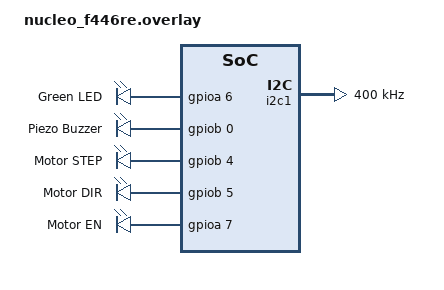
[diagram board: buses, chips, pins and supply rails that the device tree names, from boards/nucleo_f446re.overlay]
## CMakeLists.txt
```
cmake_minimum_required(VERSION 3.20.0)
find_package(Zephyr REQUIRED HINTS $ENV{ZEPHYR_BASE})
project(infusion_pump)

target_sources(app PRIVATE
    src/main.cpp
    src/InfusionMode.cpp
    src/ConstantRateMode.cpp
    src/LinearRampMode.cpp
    src/EncoderVolumeTracker.cpp
    src/OcclusionMonitor.cpp
)

target_include_directories(app PRIVATE src)
```

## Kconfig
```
mainmenu "Infusion Pump Application"

source "Kconfig.zephyr"
```

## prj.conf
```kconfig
# UART configuration
CONFIG_SERIAL=y
CONFIG_UART_CONSOLE=y
CONFIG_UART_INTERRUPT_DRIVEN=y

# Console
CONFIG_CONSOLE=y
CONFIG_PRINTK=y

# No heap — medical device requirement
CONFIG_HEAP_MEM_POOL_SIZE=0

# C++ support
CONFIG_CPP=y
CONFIG_STD_CPP20=y
CONFIG_GLIBCXX_LIBCPP=y

# I2C for LPS22HB sensor
CONFIG_I2C=y

# Stack sizes
CONFIG_MAIN_STACK_SIZE=2048
CONFIG_SYSTEM_WORKQUEUE_STACK_SIZE=2048
CONFIG_SENSOR=y
CONFIG_QDEC_STM32=y
```

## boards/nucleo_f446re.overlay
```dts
/{
// An alias is a short name assigned to a hardware node in the Device Tree instaed it eriting green led we using shret name as led0
aliases {
        led0        = &green_led;
        motor-step  = &motor_step;
        motor-dir   = &motor_dir;
        motor-en    = &motor_en;
        alarm-buzz  = &buzzer_out;
    };

//leed gpio initialization 
    leds {
        compatible = "gpio-leds";
        green_led: led_0 {
// gpio controller port a pin 6 and the state is active            
gpios = <&gpioa 6 GPIO_ACTIVE_HIGH>;
            label = "Green LED";
        };
    };
// same as led 
 buzzers {
        compatible = "gpio-leds";
        buzzer_out: buzzer_0 {
            gpios = <&gpiob 0 GPIO_ACTIVE_HIGH>;
// human readable             
label = "Piezo Buzzer";
        };
    };




// same as led
    motor {
        compatible = "gpio-leds";
        motor_step: motor_step_0 {
            gpios = <&gpiob 4 GPIO_ACTIVE_HIGH>;
            label = "Motor STEP";
        };
        motor_dir: motor_dir_0 {
            gpios = <&gpiob 5 GPIO_ACTIVE_HIGH>;
            label = "Motor DIR";
        };
          motor_en: motor_en_0 {
        gpios = <&gpioa 7 GPIO_ACTIVE_HIGH>;
        label = "Motor EN";
    };

    };
};
 // itd necessary for lps22hb  without ths i2c is disbled 
   &i2c1 {
    status = "okay";
 the speed of it s is 400 khz
    clock-frequency = <I2C_BITRATE_FAST>;
};
// this is for encoder initailization 
&pinctrl {
// timer 2 channel 1 port a pin 0 
    tim2_ch1_pa0: tim2_ch1_pa0 {
        pinmux = <STM32_PINMUX('A', 0, AF1)>;
// it is the pull up resistor  
bias-pull-up;
    };
// it foe b chanel
    tim2_ch2_pa1: tim2_ch2_pa1 {
        pinmux = <STM32_PINMUX('A', 1, AF1)>;
        bias-pull-up;
    };
};

this enable stm 32 timer 2 enables 
&timers2 {
    status = "okay";
    st,prescaler = <0>;
no prescaing 
//This creates a Quadrature Decoder (QDEC) node using Timer 2.
  qdec: qdec {
        compatible = "st,stm32-qdec";
// this tells the zephyr use the qdec driver for this hardwaer
        status = "okay";
        pinctrl-0 = <&tim2_ch1_pa0 &tim2_ch2_pa1>;
        pinctrl-names = "default";
// this tells the driver for full rotation it generates 600 pulses 
        st,counts-per-revolution = <600>;
    };
};
```

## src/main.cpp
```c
#include <zephyr/kernel.h>
#include <zephyr/device.h>
#include <zephyr/drivers/uart.h>
#include <zephyr/drivers/gpio.h>
#include <zephyr/drivers/i2c.h>
// This header provides the Zephyr Sensor API, which is used to access the STM32 QDEC driver
// and read the encoder count.
#include <zephyr/drivers/sensor.h>
#include <zephyr/sys/printk.h>

#include "InfusionMode.hpp"
#include "ConstantRateMode.hpp"
#include "LinearRampMode.hpp"
#include "EncoderVolumeTracker.hpp"
#include "OcclusionMonitor.hpp"
// this gpio_dt_spec ia a zephyr structur ehat stores the all information about the gpio pin 
// struct - it is a user defined data type that groups multiple variable togtther
//const - the variable value cannot be modified after the  once it is created since the led is never changeable   
//static is a global variable in.cpp file  only this maincpp can access it 
// led- this a simpple variable name 
// ── GPIO specs ────────────────────────────────────
static const struct gpio_dt_spec led =
//It searches the Device Tree for the alias named led0.
    GPIO_DT_SPEC_GET(DT_ALIAS(led0), gpios);
static const struct gpio_dt_spec step_pin =
    GPIO_DT_SPEC_GET(DT_ALIAS(motor_step), gpios);
static const struct gpio_dt_spec dir_pin =
    GPIO_DT_SPEC_GET(DT_ALIAS(motor_dir), gpios);
static const struct gpio_dt_spec en_pin= 
    GPIO_DT_SPEC_GET(DT_ALIAS(motor_en), gpios);
static const struct gpio_dt_spec buzzer =
    GPIO_DT_SPEC_GET(DT_NODELABEL(buzzer_out), gpios);

// ── Alarm helpers ─────────────────────────────────
static void alarm_on(void) {
     // these are zephyr api the fuction calls api then gpio driver then stm32  hardware 
    gpio_pin_set_dt(&led,    1);
    gpio_pin_set_dt(&buzzer, 1);
}

static void alarm_off(void) {
    gpio_pin_set_dt(&led,    0);
    gpio_pin_set_dt(&buzzer, 0);
} cd ~/zephyrproject
source .venv/bin/activate
source zephyr/zephyr-env.sh
export ZEPHYR_SDK_INSTALL_DIR=$HOME/zephyr-sdk-0.16.8
west build -p always -b nucleo_f446re infusion_pump
west flash --build-dir ~/zephyrproject/build



// ── Encoder globals & Physical Constants ──────────
//static → Variable is accessible only within main.cpp.
//const → The device object itself cannot be modified.
//struct device → Zephyr's device structure representing a hardware device.

//* → Pointer to the device.
//t stores the address of the QDEC (Quadrature Decoder) device.
static const struct device *qdec_dev;
//Stores the previous raw encoder count.
static int32_t  g_encoderRawPrev     = 0;
//after the first encoder is intialized then only it gets true before it running it retuuns false
static bool     g_encoderInitialized = false;
//it stores the last total  encoder count 
static int32_t  g_lastEncoderCount   = 0; // Cumulative degrees tracked
// it stores Stores the flow rate set by the user. = 100ml/hr 
static uint32_t userFlowRateUlHr  = 100000; // default 100mL/hr
// no dose rtaregt is set yet now 
static uint32_t userDoseTargetUL  = 0;// 0 = no target
//This is a macro, not a variable. for completerotation in degrees as 360  
#define ENCODER_DEG_PER_REV  360
// it delivers 3.2 ml for full rotation 
#define UL_PER_REV           3200
//Counts how many motor steps have been generated.
static uint32_t motorTicks      = 0;
//Stores the expected volume.
//This is the theoretical volume based on the number of motor steps.
static uint32_t expectedVolumeUL = 0;
//Stores the actual delivered volume.
//It is calculated using the encoder pulses.
static uint32_t actualVolumeUL    = 0;
// IT STORES CORRECTION VOLUME AND IT COMPENSATE DIFFERENCE BETWEEN  EXPECTED AND ACTUAL 
static uint32_t volumeOffset     = 0;
//Stores the last time the ramp speed was updated.
static uint32_t lastRampUpdateMs = 0;
//Stores the maximum ramp flow rate. 500ML
static uint32_t userMaxRampRateUlHr = 500000;


Power ON
    │
    ▼
Initialize I2C
    │
    ▼
Initialize LPS22HB
    │
    ▼
Check WHO_AM_I register
    │
    ▼
Configure sensor
    │
    ▼
Read pressure periodically
    │
    ▼
Pressure (hPa)
    │
    ▼
Occlusion detection
// ── I2C / LPS22HB ────────────────────────────────
static const struct device *i2c_dev;
//This is the I²C address of the pressure sensor.//When the STM32 wants to communicate with the LPS22HB, it sends:
#define LPS22HB_ADDR         0x5C
//This is a register address inside the sensor.
#define LPS22HB_PRESS_OUT_XL 0x28
//This is another register.
//Its purpose is to identify the sensor.
//Reading this register should return
#define LPS22HB_WHO_AM_I     0x0F
//This is the control register.
//Writing values into this register configures the sensor.
#define LPS22HB_CTRL_REG1    0x10
//Sensor not initialized.//  when it is intialized it gets true 
static bool lps22hb_ready = false;
// this function initializes the sensor it did three jobs detect sensor configure sensor return sucess / fsilure  
static bool lps22hb_init(void) 
//Creates an 8-bit variable.
//It will store the value read from the WHO_AM_I register.
    uint8_t who_am_i = 0;
//Stores
//0x0F
//This tells the sensor
//Read register 0x0F
    uint8_t reg = LPS22HB_WHO_AM_I;
// this is a zephyr i2c api (i2c_write_read) it performs read and write function 
// it write 0 x 0F > LPSR22HB > RETURNS > 0XB1 IT STORED IN AN WHO AM I 
// IF THE CONNECTION FILE LPS NOT FOUND 
    if (i2c_write_read(i2c_dev, LPS22HB_ADDR, &reg, 1, &who_am_i, 1) != 0) {
        printk("LPS22HB not found!\n");
        return false;
    }
    printk("LPS22HB WHO_AM_I: 0x%02X\n", who_am_i);
// IT CREATES TWO BYES REGISTER ADRES  AS 0X10 AND OTHER BYTE AS CTRL REG1 0X30 
    uint8_t cfg[2] = {LPS22HB_CTRL_REG1, 0x30};
// IT WRITES 0X3O INTO CTRL REG
    i2c_write(i2c_dev, cfg, 2, LPS22HB_ADDR);
    return (who_am_i == 0xB1);
}//"The LPS22HB stores each pressure measurement in three 8-bit registers: 
//PRESS_OUT_XL (0x28), PRESS_OUT_L (0x29), and PRESS_OUT_H (0x2A). Since each register is 8 bits, the total pressure data size is 24 bits (3 × 8 = 24). 
    //My code reads these three bytes over I²C and combines them into a single 24-bit raw pressure value before converting it to pressure in hPa."

static uint32_t read_lps22hb_pressure(void) // IT READ PRESSURE FROM SENSOR {
    if (!lps22hb_ready) return 1013;// IF THE SENSOR NOT READ IT RETURS 1013 BCZ IT A ATMOSPHERIC NORMAL VALUE 
    uint8_t buf[3];//Creates a buffer of three bytes because the pressure value is stored across three registers.
    uint8_t reg = LPS22HB_PRESS_OUT_XL | 0x80;//0X 80 ENABLES AUTO INCREAMET 
    if (i2c_write_read(i2c_dev, LPS22HB_ADDR, &reg, 1, buf, 3) != 0) {
        return 1013;
    }
// THESE COMBINES THE 24 BIT RAW VALUE 2^24
    int32_t raw = ((int32_t)buf[2] << 16) | ((int32_t)buf[1] << 8) | (int32_t)buf[0];
// IF SUPPOSEIT RETUS BUF[1]=0X3F,0X56,0X45 COBINES RAW VALUE  = 0X3F5645 IT RETURNS THE DECIMAL AS raw = 0x3F5800
//Decimal = 4,151,296 IT IIS NOT PRESSUREHPA  VALUE IT A RAW  PRESSURE VALUE THAT NEED TO DIVIDE BY 4096 IT GIVEN BY DATA SHEET  THEN ONLY WE GET AS 1013 HPA 
    return (uint32_t)(raw / 4096);
}

// ── Static instances — no heap ───────────────────
//static → The object exists for the entire program execution.ConstantRateMode → This is the class (data type).
//constantMode → This is the object name
//(100000) → Calls the constructor with 100000 µL/hr.
static ConstantRateMode  constantMode(100000);// its the class that create s object that call the constructor which initializes the targetrate_
static LinearRampMode    rampMode(10000, 500000, 10000);// lits the class that creates the ramp mode object with calls constructor that passes stsrtrate_,endrate_,stepsize_
static OcclusionMonitor  occlusionMonitor;// ccalls class with object no paramete so it initialized  currentpressure_, status_, alarmcount_
static InfusionMode*     activeMode    = &constantMode;// it uses a pointer the pointer doesnt stores the object name its  
//stores the address of the object  here infusion mode object address is stored in   activmode variable here the infusionmode variable is constantMode and linearmode  
static bool              useRealSensor = true;// it returns real data or simulateed data 
// this is a preprocessor macro evry time it stores 32 charcters // the maximum number of characters that command contains 
// ── UART buffer ───────────────────────────────────
#define UART_BUF_SIZE 32
// it stores the uart  character 
static char   uart_buf[UART_BUF_SIZE]; 
//keep track of where the next character to be stored  
static uint8_t uart_buf_pos = 0;
// pointer to the uart hardware device that obtain from the zephyr 
static const struct device *uart_dev;
// how the uart means it is communication interface that share the to the two devices one character at a time// whenever the START IS TYPE 
// IT GOES ONE BY ONE CHARACTER THAT STORED N AN UART_BUF  IT DENDS TO UART STM32 HARDWARE THEN ZEPHYR UART DRIVER UART INTERRECPT, STORES CHARACTER IN UART_BUF[]
// WHEN/n  enter is reciver it goes into command processor funtion that startfunction pump state machine motor starts 
// ── Encoder Helper Functions ──────────────────────//These helper functions are responsible for reading the encoder position from the Zephyr QDEC driver.
static int32_t readEncoderRaw(void) { // this functonly used in main file noo any other // it reads the encoder raw data 
    if (!qdec_dev) return 0;// later it get initialized if the encoderis not then it reyurn 0 
    struct sensor_value val;// it is a zeohyr structure // it stores sensor data // val is the object 
    sensor_sample_fetch(qdec_dev);//This is a Zephyr Sensor API function it tells the qdec "Read the latest value from the hardware.
    sensor_channel_get(qdec_dev, SENSOR_CHAN_ROTATION, &val);//this ask the driver for getting the rotation
    return val.val1; // It gets current encder angle
}
This function is one of the most important functions in your encoder module. 

//It converts the current encoder angle into the total angle the motor has rotated, even when the encoder wraps from 359° back to 0°.
// it does not return anything 
//Encoder,Current angle =125°,readEncoderRaw(),raw=125Previous=120,delta=125-120delta=5°Wrap correction?NoAbsolute value5°Total count +=5°Save Previous =125°

static void updateEncoderPosition(void) {
    // raw it stores the current angle 
    int32_t raw = readEncoderRaw();
    if (!g_encoderInitialized) {
        g_encoderRawPrev     = raw;
        g_encoderInitialized = true;
        return;
    }// the calculate the 120 - 125  current - previous 
    int32_t delta = raw - g_encoderRawPrev;
//Previous =359°
//Current =2°// delta = 359 - 2 = 357 but it is impossile that  then 357>360/2=180 then the program assumes the encoder wrapped in the opposite direction.
    //Now the movement is correctly interpreted as 3° in the reverse direction.
    // Handle degree boundary rollover at 360
    if (delta > ENCODER_DEG_PER_REV / 2)
        delta -= ENCODER_DEG_PER_REV;// -357+360=3 deg
    if (delta < -ENCODER_DEG_PER_REV / 2) //the movement is correct 
        delta += ENCODER_DEG_PER_REV;
    // why use 180 means half the rotation largest reasonable change between two consecutive readings.
    // Accumulate running absolute delta tracking distance
    if (delta < 0) delta = -delta;
    g_lastEncoderCount += delta;//This variable stores the total accumulated angular movement.
    g_encoderRawPrev    = raw;
}
//. After updateEncoderPosition() calculates the total angle rotated, these two functions:

//Convert the angle into infused volume.
//Reset the encoder when starting a new infusion.
static uint32_t getActualVolumeUL(void) {
    // 360 degrees = 3200 uL
    // volume offset = 1000ul , last encoder cpount is deg , ul per rev =n3200 , encoder deg 600
    return volumeOffset + (uint32_t)((int64_t)g_lastEncoderCount * UL_PER_REV / ENCODER_DEG_PER_REV);
}

static void resetEncoderPosition(void) {
    g_lastEncoderCount   = 0;
    g_encoderInitialized = false;
}

// ── Process command ───────────────────────────────
// the process_command funcion it store the point in the user command // if user types START thenn cmd = start ;
static void process_command(const char* cmd) {
    printk("CMD: %s\n", cmd);

    // CONSTANT
    if (cmd[0]=='C' && cmd[1]=='O' && cmd[2]=='N') {
        activeMode = &constantMode;
        printk("Mode: CONSTANT 100mL/hr\n");
        return;
    }

    // RAMP
    if (cmd[0]=='R' && cmd[1]=='A' && cmd[2]=='M') {
        activeMode = &rampMode;
        printk("Mode: RAMP 10->500mL/hr\n");
        return;
    }
  // SET_RATE <dose_mL> <rate_mL_per_hr>
// Example: SET_RATE 10 100
if (cmd[0]=='S' && cmd[1]=='E' && cmd[2]=='T') {
    uint32_t dose = 0;
    uint32_t rate = 0;
    const char* p = cmd + 9;

    // Parse dose (mL)
    while (*p >= '0' && *p <= '9') {
        dose = dose * 10 + (*p - '0');
        p++;
    }
    while (*p == ' ') p++;

    // Parse rate (mL/hr)
    while (*p >= '0' && *p <= '9') {
        rate = rate * 10 + (*p - '0');
        p++;
    }

    if (dose >= 1 && dose <= 500 &&
        rate >= 1 && rate <= 500) {
        userDoseTargetUL = dose * 1000;
        userFlowRateUlHr = rate * 1000;
        userMaxRampRateUlHr  = rate * 1000;
  rampMode = LinearRampMode(
            10000,
            userMaxRampRateUlHr,
            10000);



        // Update constant mode rate
        constantMode = ConstantRateMode(
            userFlowRateUlHr);

        printk("Dose target: %lu uL (%lu mL)\n",
            (unsigned long)userDoseTargetUL,
            (unsigned long)dose);
        printk("Flow rate:   %lu uL/hr (%lu mL/hr)\n",
            (unsigned long)userFlowRateUlHr,
            (unsigned long)rate);
    } else {
        printk("ERROR: dose 1-500mL rate 1-500mL/hr\n");
    }
    return;
}

    // START
    if (cmd[0]=='S' && cmd[1]=='T' && cmd[2]=='A' && cmd[3]=='R') {
        volumeOffset     = actualVolumeUL;
        motorTicks       = 0;
        expectedVolumeUL = 0;
        resetEncoderPosition();
        
        activeMode->run();
        lastRampUpdateMs = k_uptime_get_32();
        
        printk("Resuming from: %lu uL\n", (unsigned long)volumeOffset);       
        printk("Infusion started\n");
        printk("Running - rate: %lu uL/hr\n", (unsigned long)activeMode->getCurrentRate());
        return;
    }

    // STOP
    if (cmd[0]=='S' && cmd[1]=='T' && cmd[2]=='O') {
        activeMode->stop();
        alarm_off();
        printk("Infusion STOPPED\n");
        printk("Expected: %lu uL\n", (unsigned long)expectedVolumeUL);
        printk("Actual:   %lu uL\n", (unsigned long)actualVolumeUL);
        return;
    }

    // STATUS
    if (cmd[0]=='S' && cmd[1]=='T' && cmd[2]=='A' && cmd[3]=='T') {
        uint32_t pressure = 1013;
        if (lps22hb_ready && useRealSensor) {
            pressure = read_lps22hb_pressure();
            occlusionMonitor.updatePressure(pressure);
        }

        printk("--- STATUS ---\n");
        printk("Mode:          %s\n", activeMode == &constantMode ? "CONSTANT" : "RAMP");
        printk("Running:       %s\n", activeMode->isRunning() ? "YES" : "NO");
        printk("Rate:          %lu uL/hr\n", (unsigned long)activeMode->getCurrentRate());
        printk("Expected:      %lu uL\n", (unsigned long)expectedVolumeUL);
        printk("Actual:        %lu uL\n", (unsigned long)actualVolumeUL);
        printk("Pressure:      %lu hPa (%s)\n", 
            (unsigned long)occlusionMonitor.getCurrentPressure(),
            useRealSensor ? "REAL" : "SIMULATED");

        if (occlusionMonitor.getStatus() == OcclusionStatus::WARNING) {
            printk("Pressure: WARNING!\n");
        } else if (occlusionMonitor.getStatus() == OcclusionStatus::ALARM) {
            printk("Pressure: ALARM!\n");
        }
        return;
    }

    // PRESSURE
    if (cmd[0]=='P' && cmd[1]=='R' && cmd[2]=='E') {
        useRealSensor = false;
        uint32_t pressure = 0;
        const char* p = cmd + 9;
        while (*p >= '0' && *p <= '9') {
            pressure = pressure * 10 + (*p - '0');
            p++;
        }
        occlusionMonitor.updatePressure(pressure);
        printk("Pressure: %lu hPa (SIMULATED)\n", (unsigned long)pressure);
        
        if (occlusionMonitor.getStatus() == OcclusionStatus::CLEAR) {
            printk("Status: CLEAR\n");
            alarm_off();
        } else if (occlusionMonitor.getStatus() == OcclusionStatus::WARNING) {
            printk("Status: WARNING\n");
            printk("Pressure rising — monitor!\n");
        } else {
            printk("!!! OCCLUSION ALARM !!!\n");
            printk("REASON: TUBE BLOCKAGE\n");
            printk("ACTION: INFUSION STOPPED\n");
            activeMode->stop();
            alarm_on();
        }
        return;
    }

    // CLEAR
    if (cmd[0]=='C' && cmd[1]=='L' && cmd[2]=='E') {
        occlusionMonitor.reset();
        alarm_off();
        useRealSensor = true;
        printk("Alarm cleared!\n");
        printk("Pressure: NORMAL\n");
        printk("Volume preserved: %lu uL\n", (unsigned long)actualVolumeUL);
        printk("Type START to resume\n");
        return;
    }

    // REAL
    if (cmd[0]=='R' && cmd[1]=='E' && cmd[2]=='A') {
        useRealSensor = true;
        printk("Switched to REAL SENSOR\n");
        return;
    }

    // RESET
    if (cmd[0]=='R' && cmd[1]=='E' && cmd[2]=='S') {
        activeMode->stop();
        occlusionMonitor.reset();
        rampMode.reset();
        motorTicks        = 0;
        expectedVolumeUL  = 0;
        actualVolumeUL    = 0;
        volumeOffset      = 0;
        resetEncoderPosition();
        alarm_off();
        printk("--- RESET COMPLETE ---\n");
        return;
    }

    printk("ERROR: unknown command\n");
    printk("Commands: CONSTANT RAMP START\n");
    printk("          STOP STATUS RESET\n");
    printk("          PRESSURE <hPa> REAL\n");
}

// ── UART callback ─────────────────────────────────
static void uart_cb(const struct device *dev, void *user_data) {
    if (!uart_irq_update(dev)) return;
    if (!uart_irq_rx_ready(dev)) return;
    uint8_t c;
    while (uart_fifo_read(dev, &c, 1) == 1) {
        if (c == '\n' || c == '\r') {
            if (uart_buf_pos > 0) {
                uart_buf[uart_buf_pos] = '\0';
                process_command(uart_buf);
                uart_buf_pos = 0;
            }
        } else if (uart_buf_pos < UART_BUF_SIZE - 1) {
            uart_buf[uart_buf_pos++] = c;
        }
    }
}

// ── Main ──────────────────────────────────────────
int main(void) {
    printk("Infusion Pump Starting...\n");
    gpio_pin_configure_dt(&en_pin, GPIO_OUTPUT_INACTIVE);
    gpio_pin_configure_dt(&led, GPIO_OUTPUT_INACTIVE);
    gpio_pin_configure_dt(&buzzer, GPIO_OUTPUT_INACTIVE);
    gpio_pin_configure_dt(&step_pin, GPIO_OUTPUT_INACTIVE);
    gpio_pin_configure_dt(&dir_pin, GPIO_OUTPUT_INACTIVE);
    gpio_pin_set_dt(&dir_pin, 1);
    gpio_pin_set_dt(&en_pin, 0);
    qdec_dev = DEVICE_DT_GET_ANY(st_stm32_qdec);
    if (!device_is_ready(qdec_dev)) {
        printk("QDEC not ready!\n");
        qdec_dev = nullptr;
    } else {
        printk("QDEC encoder READY\n");
    }

    i2c_dev = DEVICE_DT_GET(DT_NODELABEL(i2c1));
    if (device_is_ready(i2c_dev)) {
        lps22hb_ready = lps22hb_init();
        if (lps22hb_ready) {
            printk("LPS22HB READY\n");
        }
    } else {
        printk("I2C not ready!\n");
    }

    uart_dev = DEVICE_DT_GET(DT_CHOSEN(zephyr_console));
    if (device_is_ready(uart_dev)) {
        uart_irq_callback_set(uart_dev, uart_cb);
        uart_irq_rx_enable(uart_dev);
    }
// Check target dose reached
if (userDoseTargetUL > 0 &&
    actualVolumeUL >= userDoseTargetUL) {
    activeMode->stop();
    alarm_on();
    printk("DOSE COMPLETE!\n");
    printk("Delivered: %lu uL\n",
        (unsigned long)actualVolumeUL);
    userDoseTargetUL = 0; // reset
}

    printk("Ready. Commands:\n");
    printk("  CONSTANT RAMP START STOP\n");
    printk("  STATUS RESET REAL\n");
    printk("  PRESSURE <hPa>\n");
   printk("  SET_RATE <mL> <mL/hr> → set dose and rate\n");
    uint32_t loop_count = 0;

    while (true) {
        if (loop_count % 500 == 0) {
            if (lps22hb_ready && useRealSensor) {
                uint32_t pressure = read_lps22hb_pressure();
                occlusionMonitor.updatePressure(pressure);
                printk("Pressure: %lu hPa — ", (unsigned long)pressure);

                if (occlusionMonitor.getStatus() == OcclusionStatus::CLEAR) {
                    printk("CLEAR\n");
                } else if (occlusionMonitor.getStatus() == OcclusionStatus::ALARM) {
                    printk("!!! ALARM !!!\n");
                    activeMode->stop();
                    alarm_on();
                }
            }
        }

        if (activeMode->isRunning()) {
            uint32_t rate = activeMode->getCurrentRate();
            if (rate == 0) rate = 1;

            uint32_t stepDelayMs = 3600000UL / rate;
            if (stepDelayMs < 2) stepDelayMs = 2;

            // Step motor
            gpio_pin_set_dt(&step_pin, 1);
            k_msleep(1);
            gpio_pin_set_dt(&step_pin, 0);
            motorTicks++;

            // Handle periodic ramping calculations
            if (activeMode == &rampMode) {
                uint32_t now = k_uptime_get_32();
                if (now - lastRampUpdateMs >= 1000) {
                    lastRampUpdateMs = now;
                    activeMode->run();
                    printk("Ramp rate: %lu uL/hr\n", (unsigned long)activeMode->getCurrentRate());
                }
            }

            // Calculate tracking variables
            updateEncoderPosition();
            
            // 200 motor steps per rev at 3200 uL per rev means exactly 16 uL per step
            expectedVolumeUL = volumeOffset + (motorTicks * 4);
            actualVolumeUL   = getActualVolumeUL();

            // Print metric telemetry status block every 50 ticks
            if (motorTicks % 50 == 0) {
                uint32_t accuracy = 0;
                int32_t  error    = 0;

                if (expectedVolumeUL > 0) {
                    accuracy = (actualVolumeUL * 100) / expectedVolumeUL;
                    error    = (int32_t)actualVolumeUL - (int32_t)expectedVolumeUL;
                }

                printk("─────────────────────\n");
                printk("Rate:     %lu uL/hr\n", (unsigned long)rate);
                printk("Expected: %lu uL\n", (unsigned long)expectedVolumeUL);
                printk("Actual:   %lu uL\n", (unsigned long)actualVolumeUL);
                printk("Error:    %ld uL\n", (long)error);
                printk("Accuracy: %lu%%\n", (unsigned long)accuracy);

                if (accuracy >= 95 && accuracy <= 105) {
                    printk("IEC 60601: PASS\n");
                } else {
                    printk("IEC 60601: FAIL\n");
                }
            }

            k_msleep(stepDelayMs - 1);
        } else {
            k_msleep(20);
        }

        loop_count++;
    }

    return 0;
}cd ~/zephyrproject
source .venv/bin/activate
source zephyr/zephyr-env.sh
export ZEPHYR_SDK_INSTALL_DIR=$HOME/zephyr-sdk-0.16.8
west build -p always -b nucleo_f446re infusion_pump
west flash --build-dir ~/zephyrproject/build
```

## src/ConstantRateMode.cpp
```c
#include "ConstantRateMode.hpp"

// the funntion belongs to the constantratemode class and it uses member initializer 
ConstantRateMode::ConstantRateMode(uint32_t targetRateUlHr)
    : targetRate_(targetRateUlHr) {}
// it is belongs to constant rate mode class so the set rate functionn stores rate of motor
// this function is called whenever the new flow rate is selected 
void ConstantRateMode::setRate(uint32_t rateUlHr) {
    targetRate_ = rateUlHr;
}
// in get target rate() funnction that returns target rate 
uint32_t ConstantRateMode::getTargetRate() const {
    return targetRate_;
}
// comput target rate also returns target rate 
uint32_t ConstantRateMode::computeTargetRate() {
    return targetRate_;
}
// apply rate funtion it stores the rate into current rate

// Applies the computed rate by storing it in currentRate_.
// The motor control logic uses currentRate_ to generate
// the required stepping speed.
void ConstantRateMode::applyRate(uint32_t rate) {
    currentRate_ = rate;
}
```

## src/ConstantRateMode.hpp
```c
#pragma once
// IT IS THE HEADERR THAT FILES CAN BE ICLUDED ONCE 
#include "InfusionMode.hpp"
// IT INCLUDES THE INFUSION MODE CLASS DECLARATION BECAUSE IT IS PARENT CLASS 
// CREATING CHILD CLASS THAT INHERITED FROM BASE CLASS
class ConstantRateMode : public InfusionMode {
public:
// IT IS CONSTRUCTOR THE IMPLICT CAN BE DIRECTLY STORD BUT IT GET BUG IN EXPLICIT CANT BE DIRCTLY STORS IF WE GIVE 100000 IT STORES ON VARIABLE AS TARGETRATEULHR  
explicit ConstantRateMode(uint32_t targetRateUlHr);
//SETRATE  IT GETS BY USER 
    void setRate(uint32_t rateUlHr);
// THIS FUCTIO STORES TARET RATE 
    uint32_t getTargetRate() const;

protected:
 // IT ONLY CALLS BY RUN() FUNCTION NOT DIRECTLY BY MAIN.CPP THATS WHY IT IS PROTECTED  WHY OVERRIDE MEANS SAME FUNCTION BUT THE WORKING DIFFERENT BASED ON CONSTANYT AND LINEAR  
    uint32_t computeTargetRate() override;
    void applyRate(uint32_t rate) override;
 // IT IS THE THE VARIABLE IT STORES THE TARGET RATE VALUE 
private:
    uint32_t targetRate_;
};
```

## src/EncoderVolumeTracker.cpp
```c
#include "EncoderVolumeTracker.hpp"

EncoderVolumeTracker::EncoderVolumeTracker()
    : pulseCount_(0)
    , totalPulses_(0) {}

void EncoderVolumeTracker::tick(bool directionForward) {
    if (directionForward) {
        pulseCount_++;
        totalPulses_++;
    } else {
        if (pulseCount_ > 0) {
            pulseCount_--;
        }
    }
}

uint32_t EncoderVolumeTracker::getVolumeUL() const {
    return (pulseCount_ * UL_PER_REV) / PULSES_PER_REV;
}

uint32_t EncoderVolumeTracker::getPulseCount() const {
    return pulseCount_;
}

void EncoderVolumeTracker::reset() {
    pulseCount_ = 0;
    totalPulses_ = 0;
}
```

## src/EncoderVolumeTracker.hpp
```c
#pragma once
#include <cstdint>
// encoder volume tracker class  
class EncoderVolumeTracker {
public:
    static constexpr uint32_t PULSES_PER_REV = 600;// encoder generates 600 pulses for 1 revolution
    static constexpr uint32_t UL_PER_REV     = 3200; // for 1 revolution in ml it delivers 3.2ml
//this constuctor initializes the member variable pulsescount_ and toltall pulses  
// Called whenever one encoder pulse is detected.
    // directionForward=true means forward rotation.
    // If forward, pulse count increases.
    // If reverse, pulse count decreases.
EncoderVolumeTracker();

// for every tick of one pulse get incremet
    void tick(bool directionForward = true);
//it returns volume 
    uint32_t getVolumeUL() const; //it returns the volume = (pulse count * 600) /3200
    uint32_t getPulseCount() const;
    void reset();

private:
    uint32_t pulseCount_;
    uint32_t totalPulses_;
};
Stepper motor rotates
        │
        ▼
Encoder shaft rotates
        │
        ▼
Encoder generates quadrature pulses
        │
        ▼
STM32 Timer (QDEC Hardware)
        │
        ▼
Zephyr QDEC Driver counts the pulses
        │
        ▼
Your code calls tick()
        │
        ▼
pulseCount_ increases
        │
        ▼
getVolumeUL()
        │
        ▼
Volume = (pulseCount × 3200) / 600
        │
        ▼
Actual infused volume (µL)
```

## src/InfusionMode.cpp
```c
#include "InfusionMode.hpp"
// BY USING THIS FILE WE CAN ABLE TO INCLUSE DECLARING FUNCTIONS OTHERWISE THE IT DOESNT KNOW WHAT INFUSION MODE IS?

// Constructor.
// It is automatically called when an object of InfusionMode or its child class is created.
// It initializes the member variables.
InfusionMode::InfusionMode()
// NOW THW CURRENT RATE IS 0
: currentRate_(0)
// MOTOR IS NOT RUNNING 
    , running_(false)
// NOW NO ALARM SO IT IS 0
    , alarmCount_(0) {}
// THIS RUN() CALLAS MAIN.CPP THE ONLY IT RUNS  LIKE ACTIVE MODE 
void InfusionMode::run() 
// WHILE RUNNING IS TRUE THE PUMP IS STARTED 
{
    running_ = true;
    //  IT GETTING TARGET RAETE 
    uint32_t target = computeTargetRate(); 
    // APPLY RATE= TARGET RATE 
    applyRate(target);
    // ITS CHECKING THE RATE IS BELOW OR ABOVE THE RATE 
    checkAlarms();
}
// THIS FUCTIONS CALLS BY MAIN .CPP TS STOPS THE INFUSION 
void InfusionMode::stop() {
    WHEN IT FALSE IT STOPS 
    running_ = false;
    // HERE THE CURRENT RATE IS 0 
    currentRate_ = 0;
}
// IT CHECKING AND RETURNS THE MOTOR IS RUNNING OR NOT TRUE OR FDALSE 
bool InfusionMode::isRunning() const {
    return running_;
}
// IT RETURNS CURRENT RATE 
uint32_t InfusionMode::getCurrentRate() const {
    return currentRate_;
}
// IT RETURNS NUMBER OF ALARM COUNT DETECTED 
uint32_t InfusionMode::getAlarmCount() const {
    return alarmCount_;
}
// ITS CHECKING AS  THE CURRENT RATE IS ABOVE OR BELOW THE RATE IF IT YES ALARM IS INITIALIZED
void InfusionMode::checkAlarms() {
    if (currentRate_ > MAX_RATE_UL_HR) {
        alarmCount_++;
    }
    if (currentRate_ < MIN_RATE_UL_HR && running_) {
        alarmCount_++;
    }
}
```

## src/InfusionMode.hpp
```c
#pragma once
#include <cstdint>
// parent class that inherits the  constant and linear ramp mode
 class InfusionMode {
// it  stores min ml/hr and max ml/hr variables beloe 1 ml the pump neverr runs 
public: 
    static constexpr uint32_t MIN_RATE_UL_HR = 1000;
    static constexpr uint32_t MAX_RATE_UL_HR = 500000;
// constructor which is used to initialize the  membervariables this constructor is automatically called whenever neededan infusion mode derived object is createds name 
// once the ocject is created  CHILD CLASSES IT BE INITIALIZED THE VARIABLES ARE currentrate_,running_,alarmcount_ variables  
//The child class doesn't call it directly. It is automatically called before the child constructor executes.
InfusionMode();
//destructor used to delete the object and it is used virtual is needed then nly can be able to call the child classes
// and it is default now we didnt use thAT Virtual ensures the correct derived class destructor is called when deleting through a base-class pointer.  
virtual ~InfusionMode() = default;
// PUBLIC FUNCTION 
//THIS RUN() ITS run() does not directly start the motor.

//It

//computes target rate
//applies the rate
//checks alarms
    void run();
//ITS STOP INFUSING
    void stop();
// IT CHECK AS MOTOR RUNNING AND RETURNS TRUE OR FALSE 
    bool isRunning() const;
//IT RETURNS CURRENT RATE
uint32_t getCurrentRate() const;
// IT RETURN THE NUMBER OF  ALARM COUNT 
    uint32_t getAlarmCount() const;
// PROTECTED FUNCTION 
protected:
 /// Pure virtual function.
// Each child class must implement how the
// target infusion rate is calculated.It is marked virtual to support safe polymorphism
// COMPUTE TARGET RATE IT RETURNS TARGET RATE 
    virtual uint32_t computeTargetRate() = 0;
// IT BASICALLY currentrate=rate 
    virtual void applyRate(uint32_t rate) = 0;
// its checking checking below rate or above rate if yes  it gets alarmcount++
    void checkAlarms();
// it store current rate 
    uint32_t currentRate_;

private:
// t stores whether the infusion mode is running.
    bool running_;
// it give counting alarm 
    uint32_t alarmCount_;
};
```

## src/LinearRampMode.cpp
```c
#include "LinearRampMode.hpp"

LinearRampMode::LinearRampMode(uint32_t startRateUlHr,
                                uint32_t endRateUlHr,                               
 uint32_t stepUlHr)
    : startRate_(startRateUlHr)
    , endRate_(endRateUlHr)
    , stepSize_(stepUlHr)
    , currentTarget_(startRateUlHr) {}
 
uint32_t LinearRampMode::getStartRate() const {
    return startRate_;
}

uint32_t LinearRampMode::getEndRate() const {
    return endRate_;
}

uint32_t LinearRampMode::getStepSize() const {
    return stepSize_;
}
void LinearRampMode::reset() {
    currentTarget_ = startRate_;
    
}

uint32_t LinearRampMode::computeTargetRate() {
    uint32_t rate = currentTarget_;
    if (currentTarget_ + stepSize_ <= endRate_) {
        currentTarget_ += stepSize_;
    } else {
        currentTarget_ = endRate_;
    }
    return rate;
}

void LinearRampMode::applyRate(uint32_t rate) {
    currentRate_ = rate;
} 
```

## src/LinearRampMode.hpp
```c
#pragma once
#include "InfusionMode.hpp"
//  i comes from inherits rom that class 
class LinearRampMode : public InfusionMode {
public:
// it s a constructor // startRateulhr means the   start rate 
// these are function paasing wuth parameters 
    LinearRampMode(uint32_t startRateUlHr,
                   uint32_t endRateUlHr,// maximum rate 
                   uint32_t stepUlHr);// update amount rate of the every pulse 
// it also function  it returns the stsrt rate 
    uint32_t getStartRate() const;
//funtciion it returns the  max rate 
    uint32_t getEndRate()   const;
// it eturns and updte the next step 
    uint32_t getStepSize()  const;
// it getting reset 
    void reset();
// it only calls run() function 
protected:
    uint32_t computeTargetRate() override;
    void applyRate(uint32_t rate) override;

private:
// it a data variable that stores the value 
    uint32_t startRate_;
    uint32_t endRate_;
    uint32_t stepSize_;
    uint32_t currentTarget_;
};
```

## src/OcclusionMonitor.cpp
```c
#include "OcclusionMonitor.hpp"

OcclusionMonitor::OcclusionMonitor()
    : currentPressure_(1013)
    , status_(OcclusionStatus::CLEAR)
    , alarmCount_(0) {}

void OcclusionMonitor::updatePressure(uint32_t pressureHpa) {
    currentPressure_ = pressureHpa;

    if (pressureHpa >= ALARM_THRESHOLD_HPA) {
        if (status_ != OcclusionStatus::ALARM) {
            alarmCount_++;
        }
        status_ = OcclusionStatus::ALARM;
    } else if (pressureHpa >= WARNING_THRESHOLD_HPA) {
        status_ = OcclusionStatus::WARNING;
    } else {
        status_ = OcclusionStatus::CLEAR;
    }
}

OcclusionStatus OcclusionMonitor::getStatus() const {
    return status_;
}

uint32_t OcclusionMonitor::getCurrentPressure() const {
    return currentPressure_;
}

bool OcclusionMonitor::isAlarming() const {
    return status_ == OcclusionStatus::ALARM;
}

uint32_t OcclusionMonitor::getAlarmCount() const {
    return alarmCount_;
}

void OcclusionMonitor::reset() {
    currentPressure_ = 1013;
    status_ = OcclusionStatus::CLEAR;
    alarmCount_ = 0;
}
```

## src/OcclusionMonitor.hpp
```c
// this file bee included only once 

#pragma once
#include <cstdint>
// class name occlusionMOnitor  :: 
enum class OcclusionStatus {
    CLEAR,
    WARNING,
    ALARM
};
// satus :: 

class OcclusionMonitor {
public:
    static constexpr uint32_t WARNING_THRESHOLD_HPA = 1014;
    static constexpr uint32_t ALARM_THRESHOLD_HPA   = 1020;

    OcclusionMonitor();

    void updatePressure(uint32_t pressureHpa);
    OcclusionStatus getStatus() const;
    uint32_t getCurrentPressure() const;
    bool isAlarming() const;
    uint32_t getAlarmCount() const;
    void reset();

private:
    uint32_t currentPressure_;
    OcclusionStatus status_;
    uint32_t alarmCount_;
};
```
